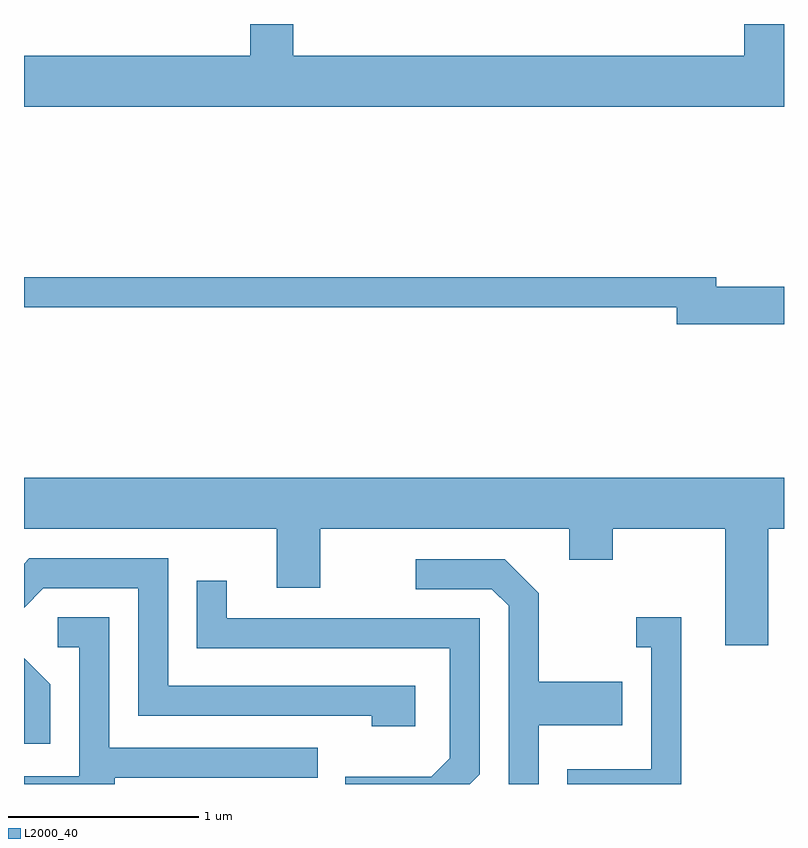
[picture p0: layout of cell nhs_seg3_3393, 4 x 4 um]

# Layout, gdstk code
import gdstk
lib = gdstk.Library(unit=1e-6, precision=1e-09)
def P(c, l, *ps):  # polygons
    for p in ps: c.add(gdstk.Polygon(p, *l))
L2000_40 = (2000, 40)

nhs_seg3_3393 = lib.new_cell('nhs_seg3_3393')
P(nhs_seg3_3393, L2000_40, [(287.611,1241.892),(287.401,1241.892),(287.401,1241.724),(285.029,1241.724),(285.029,1241.892),(284.801,1241.892),(284.801,1241.724),(283.611,1241.724),(283.611,1241.456),(287.611,1241.456)],
  [(287.611,1240.509),(287.254,1240.509),(287.254,1240.559),(283.611,1240.559),(283.611,1240.401),(287.046,1240.401),(287.046,1240.311),(287.611,1240.311)],
  [(287.529,1239.236),(287.611,1239.236),(287.611,1239.504),(283.611,1239.504),(283.611,1239.236),(284.941,1239.236),(284.941,1238.926),(285.169,1238.926),(285.169,1239.236),(286.481,1239.236),(286.481,1239.071),(286.709,1239.071),(286.709,1239.236),(287.301,1239.236),(287.301,1238.621),(287.529,1238.621)],
  [(285.669,1238.409),(284.369,1238.409),(284.369,1239.079),(283.639,1239.079),(283.611,1239.051),(283.611,1238.82),(283.712,1238.921),(284.211,1238.921),(284.211,1238.251),(285.441,1238.251),(285.441,1238.196),(285.669,1238.196)],
  [(286.319,1238.201),(286.759,1238.201),(286.759,1238.429),(286.319,1238.429),(286.319,1238.897),(286.142,1239.074),(285.673,1239.074),(285.673,1238.916),(286.074,1238.916),(286.161,1238.829),(286.161,1237.892),(286.319,1237.892)],
  [(286.009,1237.944),(286.009,1238.764),(284.679,1238.764),(284.679,1238.963),(284.521,1238.963),(284.521,1238.606),(285.851,1238.606),(285.851,1238.027),(285.754,1237.929),(285.301,1237.929),(285.301,1237.892),(285.957,1237.892)],
  [(284.089,1237.926),(285.158,1237.926),(285.158,1238.084),(284.059,1238.084),(284.059,1238.769),(283.788,1238.769),(283.788,1238.611),(283.901,1238.611),(283.901,1237.934),(283.611,1237.934),(283.611,1237.892),(284.089,1237.892)],
  [(287.069,1238.769),(286.833,1238.769),(286.833,1238.611),(286.911,1238.611),(286.911,1237.969),(286.471,1237.969),(286.471,1237.892),(287.069,1237.892)],
  [(283.749,1238.417),(283.611,1238.555),(283.611,1238.103),(283.749,1238.103)])

lib.write_gds('nhs_seg3_3393.gds')
